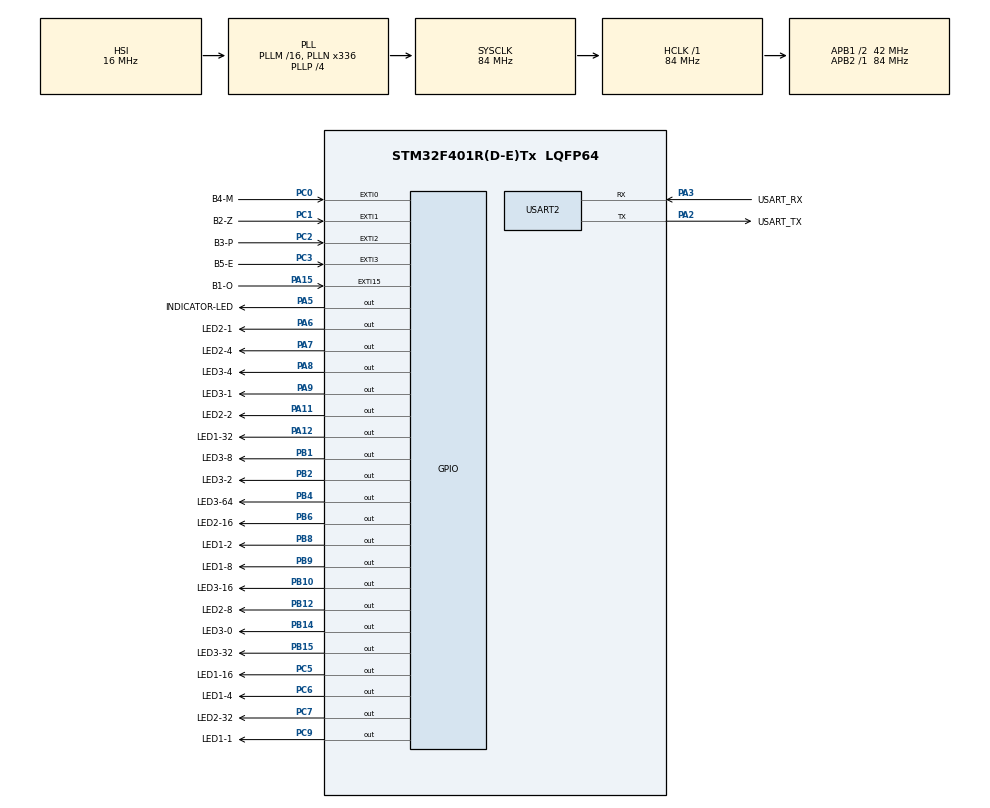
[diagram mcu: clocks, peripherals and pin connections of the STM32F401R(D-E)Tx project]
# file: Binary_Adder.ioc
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Mcu.Family=STM32F4
Mcu.Name=STM32F401R(D-E)Tx
Mcu.Package=LQFP64
NVIC.EXTI0_IRQn=true\:0\:0\:false\:false\:true\:true\:true
NVIC.EXTI15_10_IRQn=true\:0\:0\:false\:false\:true\:true\:true
NVIC.EXTI1_IRQn=true\:0\:0\:false\:false\:true\:true\:true
NVIC.EXTI2_IRQn=true\:0\:0\:false\:false\:true\:true\:true
NVIC.EXTI3_IRQn=true\:0\:0\:false\:false\:true\:true\:true
NVIC.PriorityGroup=NVIC_PRIORITYGROUP_0
NVIC.RCC_IRQn=true\:0\:0\:false\:false\:true\:true\:false
PA11.GPIO_Label=LED2-2
PA11.Signal=GPIO_Output
PA12.GPIO_Label=LED1-32
PA12.Signal=GPIO_Output
PA15.GPIO_Label=B1-O
PA15.GPIO_ModeDefaultEXTI=GPIO_MODE_IT_RISING
PA15.GPIO_PuPd=GPIO_PULLDOWN
PA15.Signal=GPXTI15
PA2.GPIO_Label=USART_TX
PA2.GPIO_Mode=GPIO_MODE_AF_PP
PA2.GPIO_PuPd=GPIO_NOPULL
PA2.GPIO_Speed=GPIO_SPEED_FREQ_LOW
PA2.Mode=Asynchronous
PA2.Signal=USART2_TX
PA3.GPIO_Label=USART_RX
PA3.GPIO_Mode=GPIO_MODE_AF_PP
PA3.GPIO_PuPd=GPIO_NOPULL
PA3.GPIO_Speed=GPIO_SPEED_FREQ_LOW
PA3.Mode=Asynchronous
PA3.Signal=USART2_RX
PA5.GPIO_Label=INDICATOR-LED
PA5.Signal=GPIO_Output
PA6.GPIO_Label=LED2-1
PA6.Signal=GPIO_Output
PA7.GPIO_Label=LED2-4
PA7.Signal=GPIO_Output
PA8.GPIO_Label=LED3-4
PA8.Signal=GPIO_Output
PA9.GPIO_Label=LED3-1
PA9.Signal=GPIO_Output
PB1.GPIO_Label=LED3-8
PB1.Signal=GPIO_Output
PB10.GPIO_Label=LED3-16
PB10.Signal=GPIO_Output
PB12.GPIO_Label=LED2-8
PB12.Signal=GPIO_Output
PB14.GPIO_Label=LED3-0
PB14.Signal=GPIO_Output
PB15.GPIO_Label=LED3-32
PB15.Signal=GPIO_Output
PB2.GPIO_Label=LED3-2
PB2.Signal=GPIO_Output
PB4.GPIO_Label=LED3-64
PB4.Signal=GPIO_Output
PB6.GPIO_Label=LED2-16
PB6.Signal=GPIO_Output
PB8.GPIO_Label=LED1-2
PB8.Signal=GPIO_Output
PB9.GPIO_Label=LED1-8
PB9.Signal=GPIO_Output
PC0.GPIO_Label=B4-M
PC0.GPIO_ModeDefaultEXTI=GPIO_MODE_IT_RISING
PC0.GPIO_PuPd=GPIO_PULLDOWN
PC0.Signal=GPXTI0
PC1.GPIO_Label=B2-Z
PC1.GPIO_ModeDefaultEXTI=GPIO_MODE_IT_RISING
PC1.GPIO_PuPd=GPIO_PULLDOWN
PC1.Signal=GPXTI1
PC14-OSC32_IN.Mode=LSE-External-Oscillator
PC14-OSC32_IN.Signal=RCC_OSC32_IN
PC15-OSC32_OUT.Mode=LSE-External-Oscillator
PC15-OSC32_OUT.Signal=RCC_OSC32_OUT
PC2.GPIO_Label=B3-P
PC2.GPIO_ModeDefaultEXTI=GPIO_MODE_IT_RISING
PC2.GPIO_PuPd=GPIO_PULLDOWN
PC2.Signal=GPXTI2
PC3.GPIO_Label=B5-E
PC3.GPIO_ModeDefaultEXTI=GPIO_MODE_IT_RISING
PC3.GPIO_PuPd=GPIO_PULLDOWN
PC3.Signal=GPXTI3
PC5.GPIO_Label=LED1-16
PC5.Signal=GPIO_Output
PC6.GPIO_Label=LED1-4
PC6.Signal=GPIO_Output
PC7.GPIO_Label=LED2-32
PC7.Signal=GPIO_Output
PC9.GPIO_Label=LED1-1
PC9.Signal=GPIO_Output
PH0\ -\ OSC_IN.Mode=HSE-External-Clock-Source
PH0\ -\ OSC_IN.Signal=RCC_OSC_IN
PH1\ -\ OSC_OUT.Mode=HSE-External-Clock-Source
PH1\ -\ OSC_OUT.Signal=RCC_OSC_OUT
ProjectManager.HeapSize=0x200
ProjectManager.StackSize=0x400
ProjectManager.TargetToolchain=STM32CubeIDE
RCC.48MHZClocksFreq_Value=48000000
RCC.AHBFreq_Value=84000000
RCC.APB1CLKDivider=RCC_HCLK_DIV2
RCC.APB1Freq_Value=42000000
RCC.APB1TimFreq_Value=84000000
RCC.APB2Freq_Value=84000000
RCC.APB2TimFreq_Value=84000000
RCC.CortexFreq_Value=84000000
RCC.HCLKFreq_Value=84000000
RCC.HSE_VALUE=8000000
RCC.HSI_VALUE=16000000
RCC.PLLN=336
RCC.PLLP=RCC_PLLP_DIV4
RCC.PLLQ=7
RCC.SYSCLKFreq_VALUE=84000000
RCC.SYSCLKSource=RCC_SYSCLKSOURCE_PLLCLK
RCC.VCOOutputFreq_Value=336000000
USART2.VirtualMode=VM_ASYNC
board=NUCLEO-F401RE

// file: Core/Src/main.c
/* USER CODE BEGIN Header */
/**
  ******************************************************************************
  * @file           : main.c
  * @brief          : Main program body
  ******************************************************************************
  * @attention
  *
  * <h2><center>&copy; Copyright (c) 2020 STMicroelectronics.
  * All rights reserved.</center></h2>
  *
  * This software component is licensed by ST under BSD 3-Clause license,
  * the "License"; You may not use this file except in compliance with the
  * License. You may obtain a copy of the License at:
  *                        opensource.org/licenses/BSD-3-Clause
  *
  ******************************************************************************
  */
/* USER CODE END Header */
#include "main.h"

UART_HandleTypeDef huart2;

/* USER CODE BEGIN PV */
enum buttonName {zButton, oButton, pButton, mButton, eButton};
enum sign {notAssigned, minus, plus};
enum row {first, second, third};
enum bool {false, true};

short binaryNumber = 0b000000;
unsigned char operationSign = notAssigned;
unsigned char numberSign = plus;
unsigned char row = first;

// Button state definition
unsigned char oButtonPressed = false;	// Number 1 button
unsigned char zButtonPressed = false;	// Number 0 button
unsigned char pButtonPressed = false;	// Plus button
unsigned char mButtonPressed = false;	// Minus button
unsigned char eButtonPressed = false;	// Equal button
/* USER CODE END PV */

void SystemClock_Config(void);
static void MX_GPIO_Init(void);
static void MX_USART2_UART_Init(void);
/* USER CODE BEGIN PFP */

// Binary adder mechanics
static void updateBinaryNumber(unsigned char button);
static void takeAction(unsigned char button);
static void writeOutput(short binaryNumber);

// Actions with LEDs
static void enableFirstRow(void);
static void enableSecondRow(void);
static void enableThirdRow(void);
static void enableAllLeds(void);
static void disableFirstRow(void);
static void disableSecondRow(void);
static void disableThirdRow(void);
static void disableAllLeds(void);
static void simpleLedAnimation(void);
/* USER CODE END PFP */

int main(void)
{

  /* MCU Configuration--------------------------------------------------------*/

  /* Reset of all peripherals, Initializes the Flash interface and the Systick. */
  HAL_Init();

  /* Configure the system clock */
  SystemClock_Config();

  /* Initialize all configured peripherals */
  MX_GPIO_Init();
  MX_USART2_UART_Init();
  /* USER CODE BEGIN 2 */

  enableAllLeds();
  HAL_Delay(2000);
  disableAllLeds();

  /* USER CODE END 2 */

  /* Infinite loop */
  while (1)
  {

    /* USER CODE BEGIN 3 */

	  // Events
	  if (oButtonPressed == true) {
		  oButtonPressed = false;
		  updateBinaryNumber(oButton);
	  }
	  if (zButtonPressed == true) {
		  zButtonPressed = false;
		  updateBinaryNumber(zButton);
	  }
	  if (pButtonPressed == true) {
		  pButtonPressed = false;
		  takeAction(pButton);
	  }
	  if (mButtonPressed == true) {
		  mButtonPressed = false;
		  takeAction(mButton);
	  }
	  if (eButtonPressed == true) {
		  eButtonPressed = false;
		  takeAction(eButton);
	  }

	  //
	  writeOutput(binaryNumber);
  }
  /* USER CODE END 3 */
}

void SystemClock_Config(void)
{
  RCC_OscInitTypeDef RCC_OscInitStruct = {0};
  RCC_ClkInitTypeDef RCC_ClkInitStruct = {0};

  /** Configure the main internal regulator output voltage
  */
  __HAL_RCC_PWR_CLK_ENABLE();
  __HAL_PWR_VOLTAGESCALING_CONFIG(PWR_REGULATOR_VOLTAGE_SCALE2);
  /** Initializes the RCC Oscillators according to the specified parameters
  * in the RCC_OscInitTypeDef structure.
  */
  RCC_OscInitStruct.OscillatorType = RCC_OSCILLATORTYPE_HSI;
  RCC_OscInitStruct.HSIState = RCC_HSI_ON;
  RCC_OscInitStruct.HSICalibrationValue = RCC_HSICALIBRATION_DEFAULT;
  RCC_OscInitStruct.PLL.PLLState = RCC_PLL_ON;
  RCC_OscInitStruct.PLL.PLLSource = RCC_PLLSOURCE_HSI;
  RCC_OscInitStruct.PLL.PLLM = 16;
  RCC_OscInitStruct.PLL.PLLN = 336;
  RCC_OscInitStruct.PLL.PLLP = RCC_PLLP_DIV4;
  RCC_OscInitStruct.PLL.PLLQ = 7;
  if (HAL_RCC_OscConfig(&RCC_OscInitStruct) != HAL_OK)
  {
    Error_Handler();
  }
  /** Initializes the CPU, AHB and APB buses clocks
  */
  RCC_ClkInitStruct.ClockType = RCC_CLOCKTYPE_HCLK|RCC_CLOCKTYPE_SYSCLK
                              |RCC_CLOCKTYPE_PCLK1|RCC_CLOCKTYPE_PCLK2;
  RCC_ClkInitStruct.SYSCLKSource = RCC_SYSCLKSOURCE_PLLCLK;
  RCC_ClkInitStruct.AHBCLKDivider = RCC_SYSCLK_DIV1;
  RCC_ClkInitStruct.APB1CLKDivider = RCC_HCLK_DIV2;
  RCC_ClkInitStruct.APB2CLKDivider = RCC_HCLK_DIV1;

  if (HAL_RCC_ClockConfig(&RCC_ClkInitStruct, FLASH_LATENCY_2) != HAL_OK)
  {
    Error_Handler();
  }
}

static void MX_USART2_UART_Init(void)
{

  huart2.Instance = USART2;
  huart2.Init.BaudRate = 115200;
  huart2.Init.WordLength = UART_WORDLENGTH_8B;
  huart2.Init.StopBits = UART_STOPBITS_1;
  huart2.Init.Parity = UART_PARITY_NONE;
  huart2.Init.Mode = UART_MODE_TX_RX;
  huart2.Init.HwFlowCtl = UART_HWCONTROL_NONE;
  huart2.Init.OverSampling = UART_OVERSAMPLING_16;
  if (HAL_UART_Init(&huart2) != HAL_OK)
  {
    Error_Handler();
  }

}

static void MX_GPIO_Init(void)
{
  GPIO_InitTypeDef GPIO_InitStruct = {0};

  /* GPIO Ports Clock Enable */
  __HAL_RCC_GPIOC_CLK_ENABLE();
  __HAL_RCC_GPIOH_CLK_ENABLE();
  __HAL_RCC_GPIOA_CLK_ENABLE();
  __HAL_RCC_GPIOB_CLK_ENABLE();

  /*Configure GPIO pin Output Level */
  HAL_GPIO_WritePin(GPIOA, INDICATOR_LED_Pin|LED2_1_Pin|LED2_4_Pin|LED3_4_Pin
                          |LED3_1_Pin|LED2_2_Pin|LED1_32_Pin, GPIO_PIN_RESET);

  /*Configure GPIO pin Output Level */
  HAL_GPIO_WritePin(GPIOC, LED1_16_Pin|LED1_4_Pin|LED2_32_Pin|LED1_1_Pin, GPIO_PIN_RESET);

  /*Configure GPIO pin Output Level */
  HAL_GPIO_WritePin(GPIOB, LED3_8_Pin|LED3_2_Pin|LED3_16_Pin|LED2_8_Pin
                          |LED3_0_Pin|LED3_32_Pin|LED3_64_Pin|LED2_16_Pin
                          |LED1_2_Pin|LED1_8_Pin, GPIO_PIN_RESET);

  /*Configure GPIO pins : B4_M_Pin B2_Z_Pin B3_P_Pin B5_E_Pin */
  GPIO_InitStruct.Pin = B4_M_Pin|B2_Z_Pin|B3_P_Pin|B5_E_Pin;
  GPIO_InitStruct.Mode = GPIO_MODE_IT_RISING;
  GPIO_InitStruct.Pull = GPIO_PULLDOWN;
  HAL_GPIO_Init(GPIOC, &GPIO_InitStruct);

  /*Configure GPIO pins : INDICATOR_LED_Pin LED2_1_Pin LED2_4_Pin LED3_4_Pin
                           LED3_1_Pin LED2_2_Pin LED1_32_Pin */
  GPIO_InitStruct.Pin = INDICATOR_LED_Pin|LED2_1_Pin|LED2_4_Pin|LED3_4_Pin
                          |LED3_1_Pin|LED2_2_Pin|LED1_32_Pin;
  GPIO_InitStruct.Mode = GPIO_MODE_OUTPUT_PP;
  GPIO_InitStruct.Pull = GPIO_NOPULL;
  GPIO_InitStruct.Speed = GPIO_SPEED_FREQ_LOW;
  HAL_GPIO_Init(GPIOA, &GPIO_InitStruct);

  /*Configure GPIO pins : LED1_16_Pin LED1_4_Pin LED2_32_Pin LED1_1_Pin */
  GPIO_InitStruct.Pin = LED1_16_Pin|LED1_4_Pin|LED2_32_Pin|LED1_1_Pin;
  GPIO_InitStruct.Mode = GPIO_MODE_OUTPUT_PP;
  GPIO_InitStruct.Pull = GPIO_NOPULL;
  GPIO_InitStruct.Speed = GPIO_SPEED_FREQ_LOW;
  HAL_GPIO_Init(GPIOC, &GPIO_InitStruct);

  /*Configure GPIO pins : LED3_8_Pin LED3_2_Pin LED3_16_Pin LED2_8_Pin
                           LED3_0_Pin LED3_32_Pin LED3_64_Pin LED2_16_Pin
                           LED1_2_Pin LED1_8_Pin */
  GPIO_InitStruct.Pin = LED3_8_Pin|LED3_2_Pin|LED3_16_Pin|LED2_8_Pin
                          |LED3_0_Pin|LED3_32_Pin|LED3_64_Pin|LED2_16_Pin
                          |LED1_2_Pin|LED1_8_Pin;
  GPIO_InitStruct.Mode = GPIO_MODE_OUTPUT_PP;
  GPIO_InitStruct.Pull = GPIO_NOPULL;
  GPIO_InitStruct.Speed = GPIO_SPEED_FREQ_LOW;
  HAL_GPIO_Init(GPIOB, &GPIO_InitStruct);

  /*Configure GPIO pin : B1_O_Pin */
  GPIO_InitStruct.Pin = B1_O_Pin;
  GPIO_InitStruct.Mode = GPIO_MODE_IT_RISING;
  GPIO_InitStruct.Pull = GPIO_PULLDOWN;
  HAL_GPIO_Init(B1_O_GPIO_Port, &GPIO_InitStruct);

  /* EXTI interrupt init*/
  HAL_NVIC_SetPriority(EXTI0_IRQn, 0, 0);
  HAL_NVIC_EnableIRQ(EXTI0_IRQn);

  HAL_NVIC_SetPriority(EXTI1_IRQn, 0, 0);
  HAL_NVIC_EnableIRQ(EXTI1_IRQn);

  HAL_NVIC_SetPriority(EXTI2_IRQn, 0, 0);
  HAL_NVIC_EnableIRQ(EXTI2_IRQn);

  HAL_NVIC_SetPriority(EXTI3_IRQn, 0, 0);
  HAL_NVIC_EnableIRQ(EXTI3_IRQn);

  HAL_NVIC_SetPriority(EXTI15_10_IRQn, 0, 0);
  HAL_NVIC_EnableIRQ(EXTI15_10_IRQn);

}

/* USER CODE BEGIN 4 */

static void updateBinaryNumber(unsigned char button) {
	if (button == oButton) {
		if (binaryNumber == 0b000000) {
			binaryNumber += 0b000001;
		}
		else if (binaryNumber < 0b100000) {
			binaryNumber = binaryNumber << 1;
			binaryNumber += 0b000001;
		}
		else {
			return;
		}
	}
	if (button == zButton) {
		if (binaryNumber == 0b000000 || binaryNumber >= 0b100000) {
			return;
		}
		else {
			binaryNumber = binaryNumber << 1;
		}
	}
}

static void takeAction(unsigned char button) {
	static short number1, number2;

	if (row == first) {
		if (button == eButton) {
			return;
		}
		row = second;
		if (button == pButton) {
			operationSign = plus;
		}
		if (button == mButton) {
			operationSign = minus;
		}
		number1 = binaryNumber;
		binaryNumber = 0b000000;
		// Enable indicator LED (onboard green LED)
		HAL_GPIO_WritePin(INDICATOR_LED_GPIO_Port, INDICATOR_LED_Pin, GPIO_PIN_SET);
	}
	if (row == second) {
		if (button == eButton) {
			row = third;
			numberSign = plus;
			number2 = binaryNumber;
			if (operationSign == plus) {
				binaryNumber = number1 + number2;
			}
			if (operationSign == minus) {
				binaryNumber = number1 - number2;
				if (binaryNumber < 0b000000) {
					numberSign = minus;
					binaryNumber = binaryNumber * (-1);
				}
			}
			writeOutput(binaryNumber);
			HAL_Delay(4000);
			binaryNumber = 0b000000;
			simpleLedAnimation();
			// Disable indicator LED (onboard green LED)
			HAL_GPIO_WritePin(INDICATOR_LED_GPIO_Port, INDICATOR_LED_Pin, GPIO_PIN_RESET);
		}
	}
}

static void writeOutput(short binaryNumber) {
	if (row == first) {
		disableFirstRow();
		if (binaryNumber >= 32) {
			HAL_GPIO_WritePin(LED1_32_GPIO_Port, LED1_32_Pin, GPIO_PIN_SET);
			binaryNumber = binaryNumber - 32;
		}
		if (binaryNumber >= 16) {
			HAL_GPIO_WritePin(LED1_16_GPIO_Port, LED1_16_Pin, GPIO_PIN_SET);
			binaryNumber = binaryNumber - 16;
		}
		if (binaryNumber >= 8) {
			HAL_GPIO_WritePin(LED1_8_GPIO_Port, LED1_8_Pin, GPIO_PIN_SET);
			binaryNumber = binaryNumber - 8;
		}
		if (binaryNumber >= 4) {
			HAL_GPIO_WritePin(LED1_4_GPIO_Port, LED1_4_Pin, GPIO_PIN_SET);
			binaryNumber = binaryNumber - 4;
		}
		if (binaryNumber >= 2) {
			HAL_GPIO_WritePin(LED1_2_GPIO_Port, LED1_2_Pin, GPIO_PIN_SET);
			binaryNumber = binaryNumber - 2;
		}
		if (binaryNumber >= 1) {
			HAL_GPIO_WritePin(LED1_1_GPIO_Port, LED1_1_Pin, GPIO_PIN_SET);
			binaryNumber = binaryNumber - 1;
		}
	}
	if (row == second) {
		disableSecondRow();
		if (binaryNumber >= 32) {
			HAL_GPIO_WritePin(LED2_32_GPIO_Port, LED2_32_Pin, GPIO_PIN_SET);
			binaryNumber = binaryNumber - 32;
		}
		if (binaryNumber >= 16) {
			HAL_GPIO_WritePin(LED2_16_GPIO_Port, LED2_16_Pin, GPIO_PIN_SET);
			binaryNumber = binaryNumber - 16;
		}
		if (binaryNumber >= 8) {
			HAL_GPIO_WritePin(LED2_8_GPIO_Port, LED2_8_Pin, GPIO_PIN_SET);
			binaryNumber = binaryNumber - 8;
		}
		if (binaryNumber >= 4) {
			HAL_GPIO_WritePin(LED2_4_GPIO_Port, LED2_4_Pin, GPIO_PIN_SET);
			binaryNumber = binaryNumber - 4;
		}
		if (binaryNumber >= 2) {
			HAL_GPIO_WritePin(LED2_2_GPIO_Port, LED2_2_Pin, GPIO_PIN_SET);
			binaryNumber = binaryNumber - 2;
		}
		if (binaryNumber >= 1) {
			HAL_GPIO_WritePin(LED2_1_GPIO_Port, LED2_1_Pin, GPIO_PIN_SET);
			binaryNumber = binaryNumber - 1;
		}
	}
	if (row == third) {
		disableThirdRow();
		if (numberSign == minus) {
			HAL_GPIO_WritePin(LED3_0_GPIO_Port, LED3_0_Pin, GPIO_PIN_SET);
		}
		else {
			HAL_GPIO_WritePin(LED3_0_GPIO_Port, LED3_0_Pin, GPIO_PIN_RESET);
		}

		if (binaryNumber >= 64) {
			HAL_GPIO_WritePin(LED3_64_GPIO_Port, LED3_64_Pin, GPIO_PIN_SET);
			binaryNumber = binaryNumber - 64;
		}
		if (binaryNumber >= 32) {
			HAL_GPIO_WritePin(LED3_32_GPIO_Port, LED3_32_Pin, GPIO_PIN_SET);
			binaryNumber = binaryNumber - 32;
		}
		if (binaryNumber >= 16) {
			HAL_GPIO_WritePin(LED3_16_GPIO_Port, LED3_16_Pin, GPIO_PIN_SET);
			binaryNumber = binaryNumber - 16;
		}
		if (binaryNumber >= 8) {
			HAL_GPIO_WritePin(LED3_8_GPIO_Port, LED3_8_Pin, GPIO_PIN_SET);
			binaryNumber = binaryNumber - 8;
		}
		if (binaryNumber >= 4) {
			HAL_GPIO_WritePin(LED3_4_GPIO_Port, LED3_4_Pin, GPIO_PIN_SET);
			binaryNumber = binaryNumber - 4;
		}
		if (binaryNumber >= 2) {
			HAL_GPIO_WritePin(LED3_2_GPIO_Port, LED3_2_Pin, GPIO_PIN_SET);
			binaryNumber = binaryNumber - 2;
		}
		if (binaryNumber >= 1) {
			HAL_GPIO_WritePin(LED3_1_GPIO_Port, LED3_1_Pin, GPIO_PIN_SET);
			binaryNumber = binaryNumber - 1;
		}
		row = first;
	}
}

static void enableFirstRow(void) {
	HAL_GPIO_WritePin(LED1_32_GPIO_Port, LED1_32_Pin, GPIO_PIN_SET);
	HAL_GPIO_WritePin(LED1_16_GPIO_Port, LED1_16_Pin, GPIO_PIN_SET);
	HAL_GPIO_WritePin(LED1_8_GPIO_Port, LED1_8_Pin, GPIO_PIN_SET);
	HAL_GPIO_WritePin(LED1_4_GPIO_Port, LED1_4_Pin, GPIO_PIN_SET);
	HAL_GPIO_WritePin(LED1_2_GPIO_Port, LED1_2_Pin, GPIO_PIN_SET);
	HAL_GPIO_WritePin(LED1_1_GPIO_Port, LED1_1_Pin, GPIO_PIN_SET);
}

static void enableSecondRow(void) {
	HAL_GPIO_WritePin(LED2_32_GPIO_Port, LED2_32_Pin, GPIO_PIN_SET);
	HAL_GPIO_WritePin(LED2_16_GPIO_Port, LED2_16_Pin, GPIO_PIN_SET);
	HAL_GPIO_WritePin(LED2_8_GPIO_Port, LED2_8_Pin, GPIO_PIN_SET);
	HAL_GPIO_WritePin(LED2_4_GPIO_Port, LED2_4_Pin, GPIO_PIN_SET);
	HAL_GPIO_WritePin(LED2_2_GPIO_Port, LED2_2_Pin, GPIO_PIN_SET);
	HAL_GPIO_WritePin(LED2_1_GPIO_Port, LED2_1_Pin, GPIO_PIN_SET);
}

static void enableThirdRow(void) {
	HAL_GPIO_WritePin(LED3_0_GPIO_Port, LED3_0_Pin, GPIO_PIN_SET);
	HAL_GPIO_WritePin(LED3_64_GPIO_Port, LED3_64_Pin, GPIO_PIN_SET);
	HAL_GPIO_WritePin(LED3_32_GPIO_Port, LED3_32_Pin, GPIO_PIN_SET);
	HAL_GPIO_WritePin(LED3_16_GPIO_Port, LED3_16_Pin, GPIO_PIN_SET);
	HAL_GPIO_WritePin(LED3_8_GPIO_Port, LED3_8_Pin, GPIO_PIN_SET);
	HAL_GPIO_WritePin(LED3_4_GPIO_Port, LED3_4_Pin, GPIO_PIN_SET);
	HAL_GPIO_WritePin(LED3_2_GPIO_Port, LED3_2_Pin, GPIO_PIN_SET);
	HAL_GPIO_WritePin(LED3_1_GPIO_Port, LED3_1_Pin, GPIO_PIN_SET);
}

static void enableAllLeds(void) {
	enableFirstRow();
	enableSecondRow();
	enableThirdRow();
}

static void disableFirstRow(void) {
	HAL_GPIO_WritePin(LED1_32_GPIO_Port, LED1_32_Pin, GPIO_PIN_RESET);
	HAL_GPIO_WritePin(LED1_16_GPIO_Port, LED1_16_Pin, GPIO_PIN_RESET);
	HAL_GPIO_WritePin(LED1_8_GPIO_Port, LED1_8_Pin, GPIO_PIN_RESET);
	HAL_GPIO_WritePin(LED1_4_GPIO_Port, LED1_4_Pin, GPIO_PIN_RESET);
	HAL_GPIO_WritePin(LED1_2_GPIO_Port, LED1_2_Pin, GPIO_PIN_RESET);
	HAL_GPIO_WritePin(LED1_1_GPIO_Port, LED1_1_Pin, GPIO_PIN_RESET);
}

static void disableSecondRow(void) {
	HAL_GPIO_WritePin(LED2_32_GPIO_Port, LED2_32_Pin, GPIO_PIN_RESET);
	HAL_GPIO_WritePin(LED2_16_GPIO_Port, LED2_16_Pin, GPIO_PIN_RESET);
	HAL_GPIO_WritePin(LED2_8_GPIO_Port, LED2_8_Pin, GPIO_PIN_RESET);
	HAL_GPIO_WritePin(LED2_4_GPIO_Port, LED2_4_Pin, GPIO_PIN_RESET);
	HAL_GPIO_WritePin(LED2_2_GPIO_Port, LED2_2_Pin, GPIO_PIN_RESET);
	HAL_GPIO_WritePin(LED2_1_GPIO_Port, LED2_1_Pin, GPIO_PIN_RESET);
}

static void disableThirdRow(void) {
	HAL_GPIO_WritePin(LED3_0_GPIO_Port, LED3_0_Pin, GPIO_PIN_RESET);
	HAL_GPIO_WritePin(LED3_64_GPIO_Port, LED3_64_Pin, GPIO_PIN_RESET);
	HAL_GPIO_WritePin(LED3_32_GPIO_Port, LED3_32_Pin, GPIO_PIN_RESET);
	HAL_GPIO_WritePin(LED3_16_GPIO_Port, LED3_16_Pin, GPIO_PIN_RESET);
	HAL_GPIO_WritePin(LED3_8_GPIO_Port, LED3_8_Pin, GPIO_PIN_RESET);
	HAL_GPIO_WritePin(LED3_4_GPIO_Port, LED3_4_Pin, GPIO_PIN_RESET);
	HAL_GPIO_WritePin(LED3_2_GPIO_Port, LED3_2_Pin, GPIO_PIN_RESET);
	HAL_GPIO_WritePin(LED3_1_GPIO_Port, LED3_1_Pin, GPIO_PIN_RESET);
}

static void disableAllLeds(void) {
	disableFirstRow();
	disableSecondRow();
	disableThirdRow();
}

static void simpleLedAnimation(void) {
	unsigned short delay = 250;

	disableAllLeds();
	HAL_Delay(delay);

	enableFirstRow();
	HAL_Delay(delay);
	disableFirstRow();
	enableSecondRow();
	HAL_Delay(delay);
	disableSecondRow();
	enableThirdRow();
	HAL_Delay(delay);
	disableThirdRow();

	enableAllLeds();
	HAL_Delay(delay);
	disableAllLeds();
}

/* USER CODE END 4 */

void Error_Handler(void)
{
}

/************************ (C) COPYRIGHT STMicroelectronics *****END OF FILE****/
